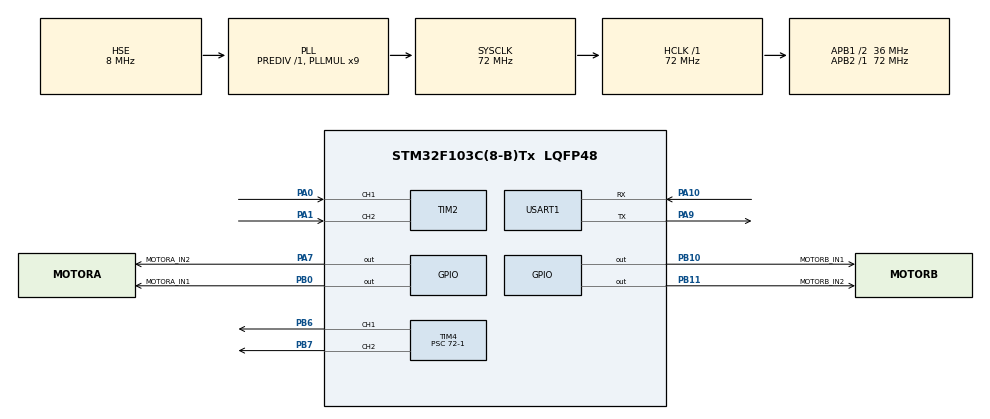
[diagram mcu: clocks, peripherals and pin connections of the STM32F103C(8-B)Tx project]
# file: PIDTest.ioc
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Mcu.Family=STM32F1
Mcu.Name=STM32F103C(8-B)Tx
Mcu.Package=LQFP48
NVIC.PriorityGroup=NVIC_PRIORITYGROUP_4
NVIC.TIM1_BRK_IRQn=true\:0\:0\:false\:false\:true\:true\:true\:true
NVIC.TIM1_UP_IRQn=true\:0\:0\:false\:false\:true\:true\:true\:true
NVIC.TIM4_IRQn=true\:0\:0\:false\:false\:true\:true\:true\:true
NVIC.USART1_IRQn=true\:0\:0\:false\:false\:true\:true\:true\:true
PA0-WKUP.Signal=S_TIM2_CH1_ETR
PA1.Signal=S_TIM2_CH2
PA10.Mode=Asynchronous
PA10.Signal=USART1_RX
PA13.Mode=Serial_Wire
PA13.Signal=SYS_JTMS-SWDIO
PA14.Mode=Serial_Wire
PA14.Signal=SYS_JTCK-SWCLK
PA7.GPIO_Label=MOTORA_IN2
PA7.Signal=GPIO_Output
PA9.Mode=Asynchronous
PA9.Signal=USART1_TX
PB0.GPIO_Label=MOTORA_IN1
PB0.GPIO_ModeDefaultOutputPP=GPIO_MODE_OUTPUT_PP
PB0.GPIO_PuPd=GPIO_NOPULL
PB0.Signal=GPIO_Output
PB10.GPIO_Label=MOTORB_IN1
PB10.Signal=GPIO_Output
PB11.GPIO_Label=MOTORB_IN2
PB11.Signal=GPIO_Output
PB6.Signal=S_TIM4_CH1
PB7.Signal=S_TIM4_CH2
PD0-OSC_IN.Mode=HSE-External-Oscillator
PD0-OSC_IN.Signal=RCC_OSC_IN
PD1-OSC_OUT.Mode=HSE-External-Oscillator
PD1-OSC_OUT.Signal=RCC_OSC_OUT
ProjectManager.HeapSize=0x200
ProjectManager.StackSize=0x400
ProjectManager.TargetToolchain=STM32CubeIDE
RCC.AHBFreq_Value=72000000
RCC.APB1CLKDivider=RCC_HCLK_DIV2
RCC.APB1Freq_Value=36000000
RCC.APB1TimFreq_Value=72000000
RCC.APB2Freq_Value=72000000
RCC.APB2TimFreq_Value=72000000
RCC.HCLKFreq_Value=72000000
RCC.PLLMUL=RCC_PLL_MUL9
RCC.PLLSourceVirtual=RCC_PLLSOURCE_HSE
RCC.SYSCLKFreq_VALUE=72000000
RCC.SYSCLKSource=RCC_SYSCLKSOURCE_PLLCLK
RCC.USBFreq_Value=72000000
SH.S_TIM2_CH1_ETR.0=TIM2_CH1,Encoder_Interface
SH.S_TIM2_CH2.0=TIM2_CH2,Encoder_Interface
SH.S_TIM4_CH1.0=TIM4_CH1,PWM Generation1 CH1
SH.S_TIM4_CH2.0=TIM4_CH2,PWM Generation2 CH2
TIM1.Period=10000-1
TIM1.Prescaler=72-1
TIM2.EncoderMode=TIM_ENCODERMODE_TI12
TIM4.Channel-PWM\ Generation1\ CH1=TIM_CHANNEL_1
TIM4.Channel-PWM\ Generation2\ CH2=TIM_CHANNEL_2
TIM4.Period=1000-1
TIM4.Prescaler=72-1
USART1.VirtualMode=VM_ASYNC
VP_TIM1_VS_ClockSourceINT.Mode=Internal
VP_TIM4_VS_ClockSourceINT.Mode=Internal
board=custom

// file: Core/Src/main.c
/* USER CODE BEGIN Header */
/**
  ******************************************************************************
  * @file           : main.c
  * @brief          : Main program body
  ******************************************************************************
  * @attention
  *
  * Copyright (c) 2024 STMicroelectronics.
  * All rights reserved.
  *
  * This software is licensed under terms that can be found in the LICENSE file
  * in the root directory of this software component.
  * If no LICENSE file comes with this software, it is provided AS-IS.
  *
  ******************************************************************************
  */
/* USER CODE END Header */
#include "main.h"
#include "tim.h"
#include "usart.h"
#include "gpio.h"

/* USER CODE BEGIN Includes */

#include <stdio.h>

#include "motor.h"
#include "pid.h"
/* USER CODE END Includes */

/* USER CODE BEGIN PD */
// #define SPEED_LOOP
#define POSITION_LOOP
/* USER CODE END PD */

/* USER CODE BEGIN PV */
uint16_t delay_counter = 10;

uint8_t rb[10];

Motor_t motors[2] = {
  {
    {&htim4, TIM_CHANNEL_1}, ///< PWM信号 {定时器, 通道}
    &htim2, ///< 编码器使用的定时器
    {MOTORA_IN1_GPIO_Port, MOTORA_IN1_Pin}, ///< 电机输入IN1 {GPIOx, Pin}
    {MOTORA_IN2_GPIO_Port, MOTORA_IN2_Pin}, ///< 电机输入IN2 {GPIOx, Pin}
    0, 0, 0, 0 ///< 方向，速度（0~1)，编码器测得的速度，编码器测得的圈数
  }
};
PID_t PIDs[2];
/* USER CODE END PV */

void SystemClock_Config(void);

/* USER CODE BEGIN 0 */

/* printf retarget */
int __io_putchar(int ch)
{
  HAL_UART_Transmit(&huart1, (uint8_t*)&ch, 1, 0xFFFF);
  return ch;
}

void HAL_TIM_PeriodElapsedCallback(TIM_HandleTypeDef* htim)
{
  if (htim == &htim1)
  {
    /* 编码器采样 */
    Encoder_Progress(motors + 0);
    /* PID计算 速度环 */
    if (PIDs[0].enable)
    {
#ifdef SPEED_LOOP
      float pid_output = PID_Calculate(PIDs + 0, motors[0].real_speed);
#endif
#ifdef POSITION_LOOP
      float pid_output = PID_Calculate(PIDs + 0, motors[0].real_round);
#endif
      Motor_SetSpeed(motors + 0, pid_output);
    }
  }
}

void HAL_UART_RxCpltCallback(UART_HandleTypeDef* huart)
{
  if (huart == &huart1)
  {
    if (rb[0] == 0xAA && rb[6] == 0xBB)
    {
      switch (rb[1])
      {
      case 0x11:
        PIDs[0].target = *(float*)(rb + 2);
        break;
      case 0x22:
        Motor_Start(motors);
        Encoder_Start(motors);
        PIDs[0].enable = 1;
        break;
      case 0x33:
        Motor_Stop(motors);
        PIDs[0].enable = 0;
        PIDs[0].output = 0;
        delay_counter = 10;
        break;
      case 0x44: // 修改比例系数
        PIDs->KpE = *(float*)(rb + 2)
#ifdef SPEED_LOOP
          / MAX_SPEED
#endif
          ;
        break;
      case 0x55: // 修改积分系数
        PIDs->KiE = *(float*)(rb + 2)
#ifdef SPEED_LOOP
          / MAX_SPEED
#endif
          ;
        break;
      case 0x66: // 修改微分系数
        PIDs->KdE = *(float*)(rb + 2)
#ifdef SPEED_LOOP
          / MAX_SPEED
#endif
          ;
        break;
      case 0x77: // 修改微分低通滤波系数
        PIDs->dfilterE = *(float*)(rb + 2);
        break;
      case 0x99: //
        PIDs->ufilterE = *(float*)(rb + 2);
        break;
      default: ;
      }
      printf("ACK: %f,%f,%f,%f,%f,%f\n",
             PIDs->target, PIDs->KpE, PIDs->KiE, PIDs->KdE, PIDs->dfilterE, PIDs->ufilterE);
    }
    UART_Start_Receive_IT(&huart1, rb, 7);
  }
}

/* USER CODE END 0 */

int main(void)
{

  /* MCU Configuration--------------------------------------------------------*/

  /* Reset of all peripherals, Initializes the Flash interface and the Systick. */
  HAL_Init();

  /* Configure the system clock */
  SystemClock_Config();

  /* Initialize all configured peripherals */
  MX_GPIO_Init();
  MX_TIM1_Init();
  MX_TIM2_Init();
  MX_TIM4_Init();
  MX_USART1_UART_Init();
  /* USER CODE BEGIN 2 */

  PID_Init(&PIDs[0],
           1.72742, 0.14087, 0.35868, 0.57931, 0.51708,
           2.47420, 0.02883, 0.22799, 0.60006, 0.60421, 0.02,
           1, 2, 0
  );
  printf("PID: KpS: %f, KiS: %f, KdS: %f, ufilterS: %f, dfilterS: %f\n", PIDs[0].KpS, PIDs[0].KiS, PIDs[0].KdS, PIDs[0].ufilterS, PIDs[0].dfilterS);
  printf("PID: KpE: %f, KiE: %f, KdE: %f, ufilterE: %f, dfilterE: %f\n", PIDs[0].KpE, PIDs[0].KiE, PIDs[0].KdE, PIDs[0].ufilterE, PIDs[0].dfilterE);
  printf("PID: output_abs_max: %f, cutoff %f, target: %f\n", PIDs[0].output_abs_max, PIDs[0].cutoff, PIDs[0].target);

  UART_Start_Receive_IT(&huart1, rb, 7);
  HAL_TIM_Base_Start_IT(&htim1);
  /* USER CODE END 2 */

  /* Infinite loop */
  /* USER CODE BEGIN WHILE */
  while (1)
  {
    if (PIDs[0].enable || delay_counter)
    {
      printf("%f,%f,%f,%f\n", motors[0].real_round, motors[0].real_speed, PIDs[0].output, PIDs[0].target);
      delay_counter--;
    }
    HAL_Delay(20);
    /* USER CODE END WHILE */

  }
}

void SystemClock_Config(void)
{
  RCC_OscInitTypeDef RCC_OscInitStruct = {0};
  RCC_ClkInitTypeDef RCC_ClkInitStruct = {0};

  /** Initializes the RCC Oscillators according to the specified parameters
  * in the RCC_OscInitTypeDef structure.
  */
  RCC_OscInitStruct.OscillatorType = RCC_OSCILLATORTYPE_HSE;
  RCC_OscInitStruct.HSEState = RCC_HSE_ON;
  RCC_OscInitStruct.HSEPredivValue = RCC_HSE_PREDIV_DIV1;
  RCC_OscInitStruct.HSIState = RCC_HSI_ON;
  RCC_OscInitStruct.PLL.PLLState = RCC_PLL_ON;
  RCC_OscInitStruct.PLL.PLLSource = RCC_PLLSOURCE_HSE;
  RCC_OscInitStruct.PLL.PLLMUL = RCC_PLL_MUL9;
  if (HAL_RCC_OscConfig(&RCC_OscInitStruct) != HAL_OK)
  {
    Error_Handler();
  }

  /** Initializes the CPU, AHB and APB buses clocks
  */
  RCC_ClkInitStruct.ClockType = RCC_CLOCKTYPE_HCLK | RCC_CLOCKTYPE_SYSCLK
    | RCC_CLOCKTYPE_PCLK1 | RCC_CLOCKTYPE_PCLK2;
  RCC_ClkInitStruct.SYSCLKSource = RCC_SYSCLKSOURCE_PLLCLK;
  RCC_ClkInitStruct.AHBCLKDivider = RCC_SYSCLK_DIV1;
  RCC_ClkInitStruct.APB1CLKDivider = RCC_HCLK_DIV2;
  RCC_ClkInitStruct.APB2CLKDivider = RCC_HCLK_DIV1;

  if (HAL_RCC_ClockConfig(&RCC_ClkInitStruct, FLASH_LATENCY_2) != HAL_OK)
  {
    Error_Handler();
  }
}

void Error_Handler(void)
{
  __disable_irq();
  while (1) {}
}
